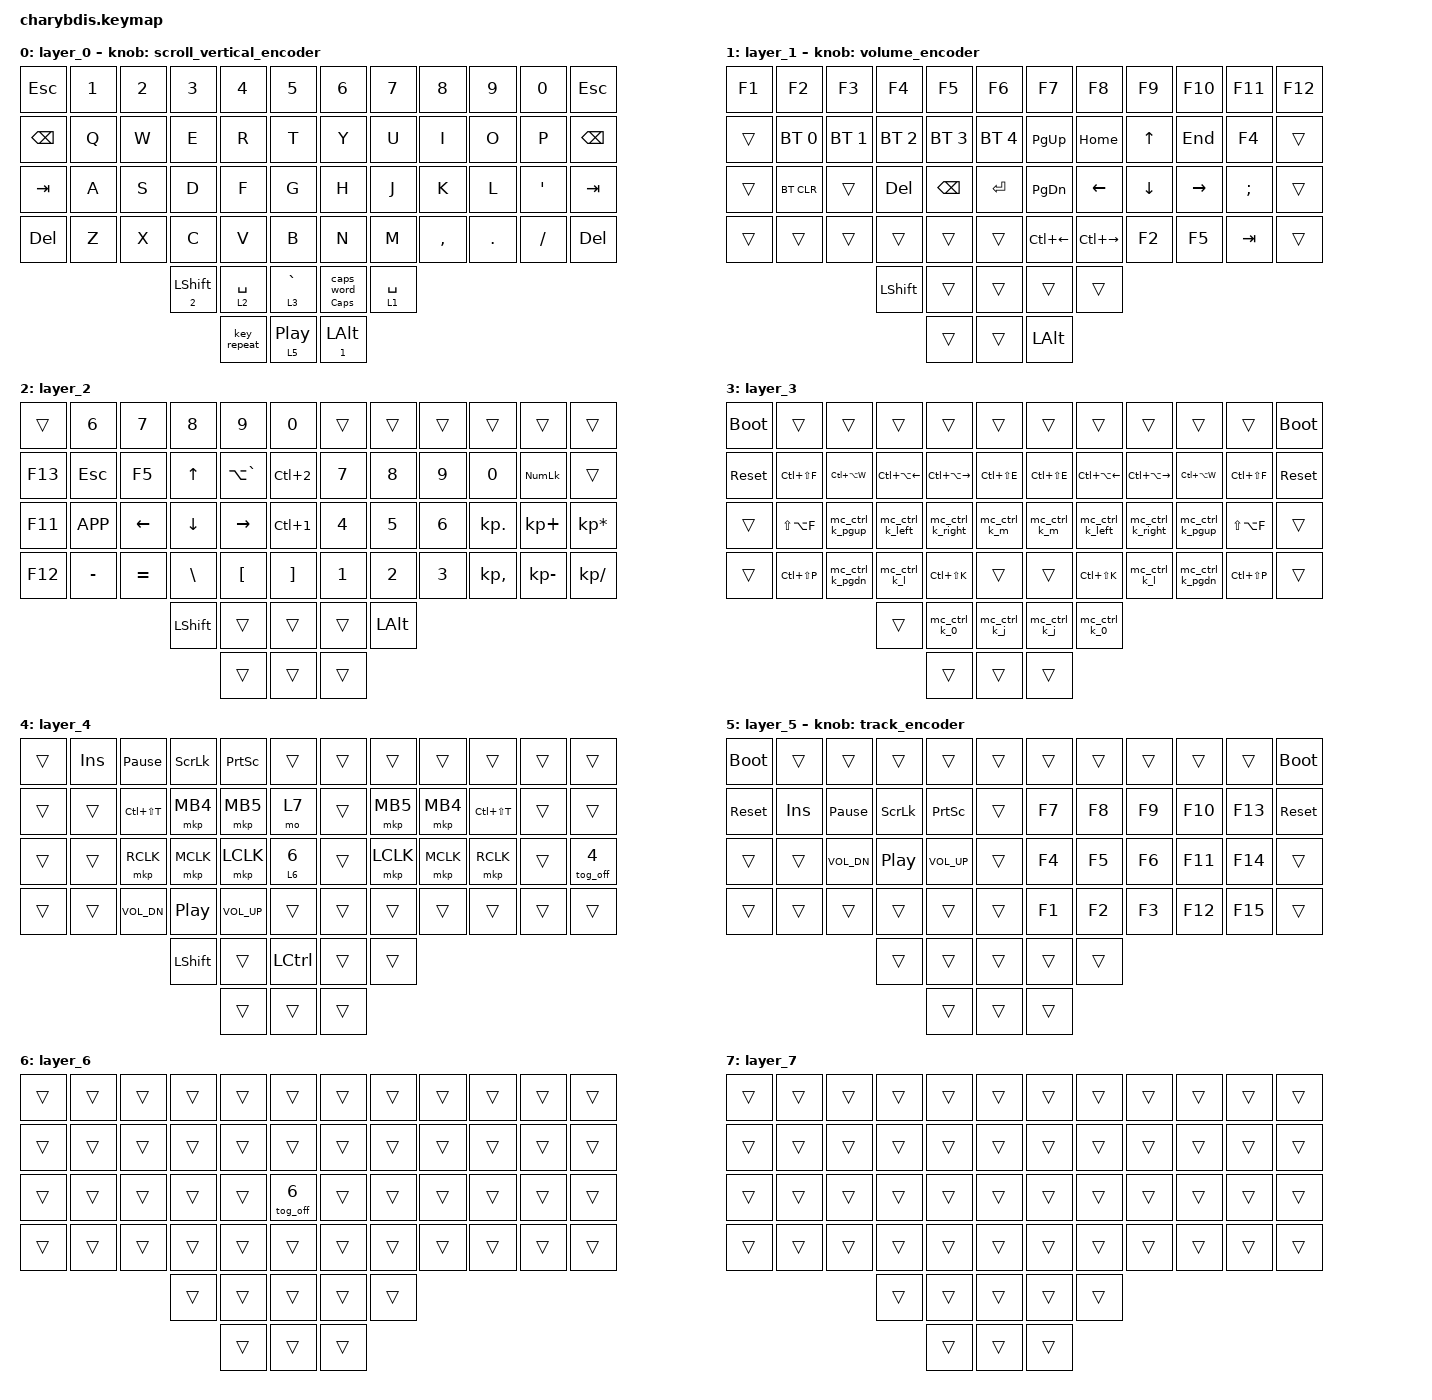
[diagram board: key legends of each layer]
#include <input/processors.dtsi>
#include <zephyr/dt-bindings/input/input-event-codes.h>
#include <behaviors.dtsi>
#include <dt-bindings/zmk/bt.h>
#include <dt-bindings/zmk/keys.h>
#include <dt-bindings/zmk/pointing.h>
#include <dt-bindings/zmk/rgb.h>

//#include <dt-bindings/zmk/mouse.h>

#define ZMK_POINTING_DEFAULT_MOVE_VAL 1500 // 默认:600 原:1000
#define ZMK_POINTING_DEFAULT_SCRL_VAL 20   // 默认:10 原:12

&lt {
    tapping-term-ms = <200>;
    flavor = "balanced";
    quick-tap-ms = <180>;
};

&mt {
    tapping-term-ms = <200>;
    flavor = "balanced";
    quick-tap-ms = <180>;
};

&mmv_input_listener { input-processors = <&zip_xy_scaler 2 1>; };

&msc_input_listener { input-processors = <&zip_scroll_scaler 3 1>; };

&msc {
    acceleration-exponent = <0>;      // 0
    time-to-max-speed-ms = <100>;       // 300
    delay-ms = <0>;                   // 0
};

&mmv {
    time-to-max-speed-ms = <500>;
    acceleration-exponent = <1>;
    trigger-period-ms = <16>;
};

/ {
    // 上下滚动编码器行为

    scroll_vertical_encoder: scroll_vertical_encoder {
        compatible = "zmk,behavior-sensor-rotate";
        #sensor-binding-cells = <0>;
        bindings = <&msc SCRL_DOWN>, <&msc SCRL_UP>;

        tap-ms = <100>;
    };

    // 左右滚动编码器行为

    scroll_horizontal_encoder: scroll_horizontal_encoder {
        compatible = "zmk,behavior-sensor-rotate";
        #sensor-binding-cells = <0>;
        bindings = <&msc SCRL_LEFT>, <&msc SCRL_RIGHT>;

        tap-ms = <100>;
    };

    // 音量编码器行为

    volume_encoder: volume_encoder {
        compatible = "zmk,behavior-sensor-rotate";
        #sensor-binding-cells = <0>;
        bindings = <&kp C_VOL_DN>, <&kp C_VOL_UP>;

        tap-ms = <100>;
    };

    // 曲目编码器行为

    track_encoder: track_encoder {
        compatible = "zmk,behavior-sensor-rotate";
        #sensor-binding-cells = <0>;
        bindings = <&kp C_NEXT>, <&kp C_PREV>;

        tap-ms = <100>;
    };

    behaviors {
        mo_tog: behavior_mo_tog {
            compatible = "zmk,behavior-hold-tap";
            #binding-cells = <2>;
            flavor = "hold-preferred";
            tapping-term-ms = <200>;
            bindings = <&mo>, <&tog>;
        };

        mo_tog_on: behavior_mo_tog_on {
            compatible = "zmk,behavior-hold-tap";
            #binding-cells = <2>;
            flavor = "hold-preferred";
            tapping-term-ms = <200>;
            bindings = <&mo>, <&tog_on>;
        };

        mo_tog_off: behavior_mo_tog_off {
            compatible = "zmk,behavior-hold-tap";
            #binding-cells = <2>;
            flavor = "hold-preferred";
            tapping-term-ms = <200>;
            bindings = <&mo>, <&tog_off>;
        };

        tog_on: toggle_layer_on_only {
            compatible = "zmk,behavior-toggle-layer";
            #binding-cells = <1>;
            display-name = "Toggle Layer On";
            toggle-mode = "on";
        };

        tog_off: toggle_layer_off_only {
            compatible = "zmk,behavior-toggle-layer";
            #binding-cells = <1>;
            display-name = "Toggle Layer off";
            toggle-mode = "off";
        };

        // 定义一个名叫 caps 的 hold-tap 行为

        caps: caps {
            compatible = "zmk,behavior-hold-tap";
            #binding-cells = <2>; // 声明它需要接收2个参数（一个给长按，一个给短按）
            tapping-term-ms = <200>;
            flavor = "tap-preferred";
            bindings = <&kp>, <&caps_word>;

            // 长按绑定kp，短按绑定caps_word
        };

        // 定义一个名为 PIXPIN截图 的 tap-dance 行为

        pixpinss: td_ctrl_num {
            compatible = "zmk,behavior-tap-dance";
            #binding-cells = <0>;
            tapping-term-ms = <300>; // 双击的时间判定范围（200毫秒内算双击）
            bindings = <&kp LC(N1)>, <&kp LC(N2)>;
        };

        // 3. Shift 的 Hold-Tap 行为

        lmshft_tap: lmshft_tap {
            compatible = "zmk,behavior-hold-tap";
            #binding-cells = <2>; // 2 个参数：参数1给Hold(图层)，参数2给Tap(修饰键)
            flavor = "hold-preferred";
            tapping-term-ms = <200>;
            bindings = <&lm_shift>, <&kp>;
        };

        // 4. Alt 的 Hold-Tap 行为

        lmalt_tap: lmalt_tap {
            compatible = "zmk,behavior-hold-tap";
            #binding-cells = <2>; // 2 个参数：参数1给Hold(图层)，参数2给Tap(修饰键)
            flavor = "hold-preferred";
            tapping-term-ms = <200>;
            bindings = <&lm_alt>, <&kp>;
        };
    };

    macros {
        To1_macro: To1_macro {
            compatible = "zmk,behavior-macro";
            label = "To1_macro";
            #binding-cells = <0>;
            bindings = <&rgb_ug RGB_EFF &rgb_ug RGB_COLOR_HSB(128,100,50) &to 1>;
        };

        To1_macro_A: To1_macro_A {
            compatible = "zmk,behavior-macro";
            label = "To1_macro_A";
            #binding-cells = <0>;
            bindings = <&rgb_ug RGB_COLOR_HSB(128,100,50) &to 1>;
        };

        To0_macro: To0_macro {
            compatible = "zmk,behavior-macro";
            label = "To0_macro";
            #binding-cells = <0>;
            bindings = <&rgb_ug RGB_EFR &to 0>;
        };

        To2_macro_A: To2_macro_A {
            compatible = "zmk,behavior-macro";
            label = "To2_macro_A";
            #binding-cells = <0>;
            bindings = <&rgb_ug RGB_COLOR_HSB(250,100,50) &to 2>;
        };

        To2_macro: To2_macro {
            compatible = "zmk,behavior-macro";
            label = "To2_macro";
            #binding-cells = <0>;
            bindings = <&rgb_ug RGB_EFF &rgb_ug RGB_COLOR_HSB(250,100,50) &to 2>;
        };

        // 1. 专用于 Shift 的 1 参数 LM 宏

        lm_shift: lm_shift {
            compatible = "zmk,behavior-macro-one-param";
            #binding-cells = <1>; // 接收 1 个参数：图层号
            wait-ms = <0>;
            tap-ms = <0>;
            bindings =
                <&macro_param_1to1>,
                <&macro_press>,
                <&mo MACRO_PLACEHOLDER>,
                <&macro_press>,
                <&kp LSHIFT>,
                <&macro_pause_for_release>,
                <&macro_release>,
                <&kp LSHIFT &macro_param_1to1>,
                <&macro_release>,
                <&mo MACRO_PLACEHOLDER>;
        };

        // 2. 专用于 Alt 的 1 参数 LM 宏

        lm_alt: lm_alt {
            compatible = "zmk,behavior-macro-one-param";
            #binding-cells = <1>; // 接收 1 个参数：图层号
            wait-ms = <0>;
            tap-ms = <0>;
            bindings =
                <&macro_param_1to1>,
                <&macro_press>,
                <&mo MACRO_PLACEHOLDER>,
                <&macro_press>,
                <&kp LALT>,
                <&macro_pause_for_release>,
                <&macro_release>,
                <&kp LALT &macro_param_1to1>,
                <&macro_release>,
                <&mo MACRO_PLACEHOLDER>;
        };

        // 1. Ctrl+K, Ctrl+L (VS Code 展开当前代码块)

        mc_ctrl_k_l: mc_ctrl_k_l {
            compatible = "zmk,behavior-macro";
            #binding-cells = <0>;
            bindings = <&kp LC(K) &kp LC(L)>;
        };

        // 2. Ctrl+K, Ctrl+0 (VS Code 折叠所有代码)

        mc_ctrl_k_0: mc_ctrl_k_0 {
            compatible = "zmk,behavior-macro";
            #binding-cells = <0>;
            bindings = <&kp LC(K) &kp LC(N0)>; // ZMK 中数字0写成 N0
        };

        // 3. Ctrl+K, Ctrl+J (VS Code 展开所有代码)

        mc_ctrl_k_j: mc_ctrl_k_j {
            compatible = "zmk,behavior-macro";
            #binding-cells = <0>;
            bindings = <&kp LC(K) &kp LC(J)>;
        };

        // 4. Ctrl+K, Ctrl+PgUp

        mc_ctrl_k_pgup: mc_ctrl_k_pgup {
            compatible = "zmk,behavior-macro";
            #binding-cells = <0>;
            bindings = <&kp LC(K) &kp LC(PG_UP)>;
        };

        // 5. Ctrl+K, Ctrl+PgDn

        mc_ctrl_k_pgdn: mc_ctrl_k_pgdn {
            compatible = "zmk,behavior-macro";
            #binding-cells = <0>;
            bindings = <&kp LC(K) &kp LC(PG_DN)>;
        };

        // 6. Ctrl+K, Ctrl+Left

        mc_ctrl_k_left: mc_ctrl_k_left {
            compatible = "zmk,behavior-macro";
            #binding-cells = <0>;
            bindings = <&kp LC(K) &kp LC(LEFT)>;
        };

        // 7. Ctrl+K, Ctrl+Right

        mc_ctrl_k_right: mc_ctrl_k_right {
            compatible = "zmk,behavior-macro";
            #binding-cells = <0>;
            bindings = <&kp LC(K) &kp LC(RIGHT)>;
        };

        // 8. Ctrl+K, Ctrl+M

        mc_ctrl_k_m: mc_ctrl_k_m {
            compatible = "zmk,behavior-macro";
            #binding-cells = <0>;
            bindings = <&kp LC(K) &kp LC(M)>;
        };
    };

    combos {
        compatible = "zmk,combos";

        L_BSPC {
            timeout-ms = <35>;
            require-prior-idle-ms = <180>;
            bindings = <&kp BACKSPACE>;
            key-positions = <16 15>;
        };

        R_BSPC {
            timeout-ms = <35>;
            require-prior-idle-ms = <180>;
            bindings = <&kp BSPC>;
            key-positions = <19 20>;
        };

        L_DEL {
            timeout-ms = <35>;
            require-prior-idle-ms = <180>;
            bindings = <&kp DEL>;
            key-positions = <14 15>;
        };

        R_DEL {
            timeout-ms = <35>;
            require-prior-idle-ms = <180>;
            bindings = <&kp DEL>;
            key-positions = <20 21>;
        };

        L_ENTER {
            timeout-ms = <35>;
            require-prior-idle-ms = <180>;
            bindings = <&kp ENTER>;
            key-positions = <39 40>;
        };

        R_ENTER {
            timeout-ms = <35>;
            require-prior-idle-ms = <180>;
            bindings = <&kp ENTER>;
            key-positions = <43 44>;
        };

        M_ENTER {
            timeout-ms = <35>;
            require-prior-idle-ms = <180>;
            bindings = <&kp ENTER>;
            key-positions = <49 52>;
        };

        L_TAB {
            timeout-ms = <35>;
            require-prior-idle-ms = <180>;
            bindings = <&kp TAB>;
            key-positions = <28 29>;
        };

        R_TAB {
            timeout-ms = <35>;
            require-prior-idle-ms = <180>;
            bindings = <&kp TAB>;
            key-positions = <31 30>;
        };

        L_GUI {
            timeout-ms = <40>;
            require-prior-idle-ms = <180>;
            bindings = <&sk LGUI>;
            key-positions = <25 26>;
        };

        R_GUI {
            timeout-ms = <40>;
            require-prior-idle-ms = <180>;
            bindings = <&sk RGUI>;
            key-positions = <34 33>;
        };

        L_SHFT {
            timeout-ms = <40>;
            require-prior-idle-ms = <180>;
            bindings = <&sk LSHFT>;
            key-positions = <28 27>;
        };

        R_SHFT {
            timeout-ms = <40>;
            require-prior-idle-ms = <180>;
            bindings = <&sk RSHFT>;
            key-positions = <32 31>;
        };

        L_CTRL {
            timeout-ms = <40>;
            require-prior-idle-ms = <180>;
            bindings = <&sk LCTRL>;
            key-positions = <27 26>;
        };

        R_CTRL {
            timeout-ms = <40>;
            require-prior-idle-ms = <180>;
            bindings = <&sk RCTRL>;
            key-positions = <32 33>;
        };

        L_ALT {
            timeout-ms = <40>;
            require-prior-idle-ms = <180>;
            bindings = <&sk LALT>;
            key-positions = <38 39>;
        };

        R_ALT {
            timeout-ms = <40>;
            require-prior-idle-ms = <180>;
            bindings = <&sk RALT>;
            key-positions = <45 44>;
        };

        L_CS {
            timeout-ms = <40>;
            require-prior-idle-ms = <180>;
            bindings = <&sk LC(LSHFT)>;
            key-positions = <26 28>;
        };

        R_CS {
            timeout-ms = <40>;
            require-prior-idle-ms = <180>;
            bindings = <&sk RC(RSHFT)>;
            key-positions = <31 33>;
        };

        L_CA {
            timeout-ms = <40>;
            require-prior-idle-ms = <180>;
            bindings = <&sk LC(LALT)>;
            key-positions = <38 27>;
        };

        R_CA {
            timeout-ms = <40>;
            require-prior-idle-ms = <180>;
            bindings = <&sk RC(RALT)>;
            key-positions = <32 45>;
        };

        L_SA {
            timeout-ms = <40>;
            require-prior-idle-ms = <180>;
            bindings = <&sk LS(LALT)>;
            key-positions = <28 39>;
        };

        R_SA {
            timeout-ms = <40>;
            require-prior-idle-ms = <180>;
            bindings = <&sk RS(RALT)>;
            key-positions = <31 44>;
        };

        L_CSA {
            timeout-ms = <40>;
            require-prior-idle-ms = <180>;
            bindings = <&sk LC(LS(LALT))>;
            key-positions = <28 37 26>;
        };

        R_CSA {
            timeout-ms = <40>;
            require-prior-idle-ms = <180>;
            bindings = <&sk RC(RS(RALT))>;
            key-positions = <31 46 33>;
        };

        L_GS {
            timeout-ms = <40>;
            require-prior-idle-ms = <180>;
            bindings = <&sk LG(LSHFT)>;
            key-positions = <28 25>;
        };

        R_GS {
            timeout-ms = <40>;
            require-prior-idle-ms = <180>;
            bindings = <&sk RG(RSHFT)>;
            key-positions = <31 34>;
        };

        L_GC {
            timeout-ms = <40>;
            require-prior-idle-ms = <180>;
            bindings = <&sk LG(LCTRL)>;
            key-positions = <25 27>;
        };

        R_GC {
            timeout-ms = <40>;
            require-prior-idle-ms = <180>;
            bindings = <&sk RG(RCTRL)>;
            key-positions = <32 34>;
        };

        L_GA {
            timeout-ms = <40>;
            require-prior-idle-ms = <180>;
            bindings = <&sk LG(LALT)>;
            key-positions = <25 40>;
        };

        R_GA {
            timeout-ms = <40>;
            require-prior-idle-ms = <180>;
            bindings = <&sk RG(RALT)>;
            key-positions = <34 43>;
        };
    };

    keymap {
        compatible = "zmk,keymap";

        layer_0 {
            bindings = <
&kp ESC        &kp N1  &kp N2  &kp N3               &kp N4       &kp N5                &kp N6             &kp N7       &kp N8     &kp N9   &kp N0     &kp ESC
&kp BACKSPACE  &kp Q   &kp W   &kp E                &kp R        &kp T                 &kp Y              &kp U        &kp I      &kp O    &kp P      &kp BACKSPACE
&kp TAB        &kp A   &kp S   &kp D                &kp F        &kp G                 &kp H              &kp J        &kp K      &kp L    &kp SQT    &kp TAB
&kp DEL        &kp Z   &kp X   &kp C                &kp V        &kp B                 &kp N              &kp M        &kp COMMA  &kp DOT  &kp SLASH  &kp DEL
                               &lmshft_tap 2 LSHFT  &lt 2 SPACE  &lt 3 GRAVE           &caps CAPS 0       &lt 1 SPACE
                                                    &key_repeat  &lt 5 C_PLAY_PAUSE    &lmalt_tap 1 LALT
            >;

            sensor-bindings = <&scroll_vertical_encoder>;
        };

        layer_1 {
            bindings = <
&kp F1  &kp F2        &kp F3        &kp F4        &kp F5        &kp F6          &kp F7        &kp F8         &kp F9    &kp F10    &kp F11   &kp F12
&trans  &bt BT_SEL 0  &bt BT_SEL 1  &bt BT_SEL 2  &bt BT_SEL 3  &bt BT_SEL 4    &kp PG_UP     &kp HOME       &kp UP    &kp END    &kp F4    &trans
&trans  &bt BT_CLR    &trans        &kp DEL       &kp BSPC      &kp ENTER       &kp PG_DN     &kp LEFT       &kp DOWN  &kp RIGHT  &kp SEMI  &trans
&trans  &trans        &trans        &trans        &trans        &trans          &kp LC(LEFT)  &kp LC(RIGHT)  &kp F2    &kp F5     &kp TAB   &trans
                                    &kp LSHFT     &trans        &trans          &trans        &trans
                                                  &trans        &trans          &kp LALT
            >;

            sensor-bindings = <&volume_encoder>;
        };

        layer_2 {
            bindings = <
&trans   &kp N6     &kp N7     &kp N8     &kp N9         &kp N0        &trans  &trans    &trans  &trans        &trans        &trans
&kp F13  &kp ESC    &kp F5     &kp UP     &kp LA(GRAVE)  &kp LC(N2)    &kp N7  &kp N8    &kp N9  &kp N0        &kp KP_NUM    &trans
&kp F11  &kp K_APP  &kp LEFT   &kp DOWN   &kp RIGHT      &kp LC(N1)    &kp N4  &kp N5    &kp N6  &kp KP_DOT    &kp KP_PLUS   &kp KP_MULTIPLY
&kp F12  &kp MINUS  &kp EQUAL  &kp BSLH   &kp LBKT       &kp RBKT      &kp N1  &kp N2    &kp N3  &kp KP_COMMA  &kp KP_MINUS  &kp KP_DIVIDE
                               &kp LSHFT  &trans         &trans        &trans  &kp LALT
                                          &trans         &trans        &trans
            >;
        };

        layer_3 {
            bindings = <
&bootloader  &trans         &trans           &trans            &trans             &trans           &trans         &trans            &trans             &trans           &trans         &bootloader
&sys_reset   &kp LC(LS(F))  &kp LC(LA(W))    &kp LC(LA(LEFT))  &kp LC(LA(RIGHT))  &kp LC(LS(E))    &kp LC(LS(E))  &kp LC(LA(LEFT))  &kp LC(LA(RIGHT))  &kp LC(LA(W))    &kp LC(LS(F))  &sys_reset
&trans       &kp LS(LA(F))  &mc_ctrl_k_pgup  &mc_ctrl_k_left   &mc_ctrl_k_right   &mc_ctrl_k_m     &mc_ctrl_k_m   &mc_ctrl_k_left   &mc_ctrl_k_right   &mc_ctrl_k_pgup  &kp LS(LA(F))  &trans
&trans       &kp LC(LS(P))  &mc_ctrl_k_pgdn  &mc_ctrl_k_l      &kp LC(LS(K))      &trans           &trans         &kp LC(LS(K))     &mc_ctrl_k_l       &mc_ctrl_k_pgdn  &kp LC(LS(P))  &trans
                                             &trans            &mc_ctrl_k_0       &mc_ctrl_k_j     &mc_ctrl_k_j   &mc_ctrl_k_0
                                                               &trans             &trans           &trans
            >;
        };

        layer_4 {
            bindings = <
&trans  &kp INS  &kp PAUSE_BREAK  &kp SLCK          &kp PSCRN     &trans            &trans  &trans     &trans     &trans         &trans  &trans
&trans  &trans   &kp LC(LS(T))    &mkp MB4          &mkp MB5      &mo 7             &trans  &mkp MB5   &mkp MB4   &kp LC(LS(T))  &trans  &trans
&trans  &trans   &mkp RCLK        &mkp MCLK         &mkp LCLK     &mo_tog_on 6 6    &trans  &mkp LCLK  &mkp MCLK  &mkp RCLK      &trans  &tog_off 4
&trans  &trans   &kp C_VOL_DN     &kp C_PLAY_PAUSE  &kp C_VOL_UP  &trans            &trans  &trans     &trans     &trans         &trans  &trans
                                  &kp LSHFT         &trans        &kp LCTRL         &trans  &trans
                                                    &trans        &trans            &trans
            >;
        };

        layer_5 {
            bindings = <
&bootloader  &trans   &trans           &trans            &trans        &trans    &trans  &trans  &trans  &trans   &trans   &bootloader
&sys_reset   &kp INS  &kp PAUSE_BREAK  &kp SLCK          &kp PSCRN     &trans    &kp F7  &kp F8  &kp F9  &kp F10  &kp F13  &sys_reset
&trans       &trans   &kp C_VOL_DN     &kp C_PLAY_PAUSE  &kp C_VOL_UP  &trans    &kp F4  &kp F5  &kp F6  &kp F11  &kp F14  &trans
&trans       &trans   &trans           &trans            &trans        &trans    &kp F1  &kp F2  &kp F3  &kp F12  &kp F15  &trans
                                       &trans            &trans        &trans    &trans  &trans
                                                         &trans        &trans    &trans
            >;

            sensor-bindings = <&track_encoder>;
        };

        layer_6 {
            bindings = <
&trans  &trans  &trans  &trans  &trans  &trans        &trans  &trans  &trans  &trans  &trans  &trans
&trans  &trans  &trans  &trans  &trans  &trans        &trans  &trans  &trans  &trans  &trans  &trans
&trans  &trans  &trans  &trans  &trans  &tog_off 6    &trans  &trans  &trans  &trans  &trans  &trans
&trans  &trans  &trans  &trans  &trans  &trans        &trans  &trans  &trans  &trans  &trans  &trans
                        &trans  &trans  &trans        &trans  &trans
                                &trans  &trans        &trans
            >;
        };

        layer_7 {
            bindings = <
&trans  &trans  &trans  &trans  &trans  &trans    &trans  &trans  &trans  &trans  &trans  &trans
&trans  &trans  &trans  &trans  &trans  &trans    &trans  &trans  &trans  &trans  &trans  &trans
&trans  &trans  &trans  &trans  &trans  &trans    &trans  &trans  &trans  &trans  &trans  &trans
&trans  &trans  &trans  &trans  &trans  &trans    &trans  &trans  &trans  &trans  &trans  &trans
                        &trans  &trans  &trans    &trans  &trans
                                &trans  &trans    &trans
            >;
        };
    };
};
